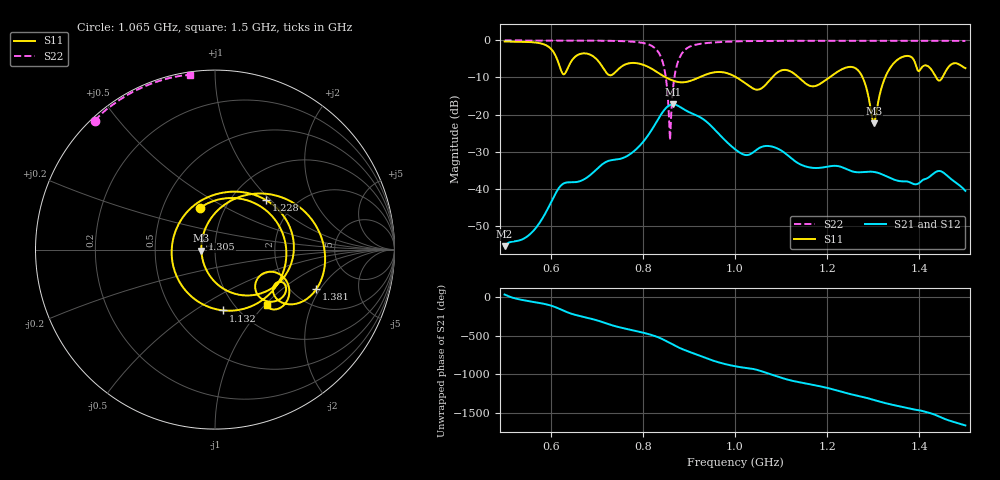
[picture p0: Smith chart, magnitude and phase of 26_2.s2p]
! TOUCHSTONE file generated by CST MICROWAVE STUDIO
! Date and time: Mon Nov 30 09:09:23 2020
! Project name: Scenario_1_Planar_Body_Tissue_Out_of_Line_v2.cst
! Parameters = {dy1=86.5; L_HA=400; Ltissue=700; MT=2.54; Rad_Dielectric=30; Rad_Lower=7.3; Rad_Upper=30; Wtissue=700; a_HA=580; a_WG=246; b_HA=500; b_WG=121; c_HA=0; c_WG=187; d_feed=85; dx1=346; h_feed=15; h_lower=18; h_upper=40; hfat=3; hgap=25; hmuscle=50; hskin=1.5}
! Header version: 2018
! Port assignment regex: !\s*Touchstone port\s*([0-9]+)\s*=\s*(CST MWS port|CST DS port)\s*([0-9]+|Zmin|Zmax)\s*\(\"(.*)\"\)(\s*mode\s*([0-9]+))?.*
! Touchstone port assignment:
! Touchstone port 1 = CST MWS port 1 ("")
! Touchstone port 2 = CST MWS port 2 ("")
# GHz S DB R 50
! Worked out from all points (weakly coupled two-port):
!   1003 points, 500 MHz to 1.5 GHz, reference 50 ohm
!   highest |S21| = -17.25 dB at 866 MHz (marker M1); lowest = -55.5 dB at 500 MHz (marker M2)
!   lowest |S11| = -22.4 dB at 1.301 GHz (marker M3), VSWR 1.16, Z = 42.9 - j0.497 ohm
!   |S11| at or under -10 dB: 850.3 MHz to 921.7 MHz (71.37 MHz wide, 8.06 % of centre); 1.004 GHz to 1.08 GHz (76.84 MHz wide, 7.37 % of centre); 1.138 GHz to 1.205 GHz (66.47 MHz wide, 5.67 % of centre) (the widest 3 of 5)
!   |S22| runs from -26.9 to 0.0 dB; largest |S21 - S12| = 5.9e-06
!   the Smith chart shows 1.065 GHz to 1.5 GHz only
!   S11 on the Smith chart (normalised r, x): 1.065 GHz: 0.76, +0.38; 1.132 GHz: 0.86, -0.66; 1.228 GHz: 1.43, +0.94; 1.305 GHz: 0.86, +0.10; 1.381 GHz: 2.64, -1.85; 1.5 GHz: 1.37, -1.03
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0.5  -0.29 -121.8  -55.51 32.0  -55.51 32.0  -0.01 151.2
0.667  -3.55 157.4  -37.81 108.5  -37.81 108.5  -0.04 138.4
0.695  -4.55 101.7  -35.31 67.3  -35.31 67.3  -0.06 135.4
0.717  -8.03 25.3  -32.99 26.4  -32.99 26.4  -0.09 132.7
0.741  -8.48 -96.4  -32.17 -19.1  -32.17 -19.1  -0.14 129.1
0.769  -6.20 177.3  -30.96 -58.4  -30.96 -58.4  -0.26 123.5
0.834  -8.80 32.0  -21.09 -162.9  -21.09 -162.9  -3.21 85.1
0.858  -10.46 -31.6  -17.49 127.1  -17.49 127.1  -25.04 -8.6
0.866  -10.87 -55.5  -17.25 101.5  -17.25 101.5  -12.24 -140.9
0.905  -10.84 -177.8  -19.61 1.2  -19.61 1.2  -1.51 165.6
0.94  -9.08 83.6  -22.11 -77.6  -22.11 -77.6  -0.69 151.5
1  -9.75 -58.5  -29.35 -175.8  -29.34 -175.8  -0.26 140.5
1.065  -12.15 110.0  -28.50 104.8  -28.50 104.8  -0.15 133.0
1.102  -8.04 1.2  -29.84 32.2  -29.84 32.2  -0.12 129.6
1.132  -9.32 -82.2  -32.73 -14.0  -32.73 -14.0  -0.11 127.0
1.167  -12.37 176.7  -34.36 -53.9  -34.36 -53.9  -0.10 124.3
1.228  -8.05 44.3  -34.03 -141.8  -34.03 -141.8  -0.09 119.6
1.301  -22.38 -175.7  -35.47 108.5  -35.47 108.5  -0.08 114.1
1.305  -20.75 141.4  -35.56 101.6  -35.56 101.6  -0.08 113.8
1.334  -7.95 51.3  -36.98 55.4  -36.98 55.4  -0.09 111.6
1.381  -4.36 -21.5  -38.38 -7.8  -38.38 -7.8  -0.09 108.0
1.5  -7.48 -46.9  -40.59 137.6  -40.59 137.6  -0.14 98.1
